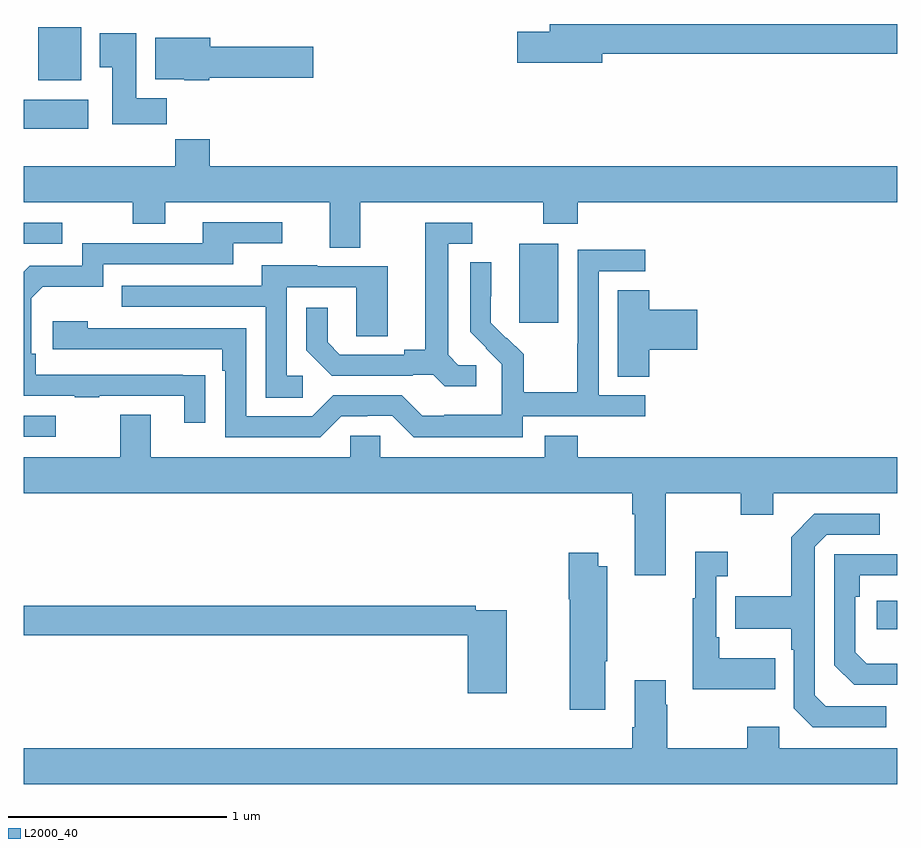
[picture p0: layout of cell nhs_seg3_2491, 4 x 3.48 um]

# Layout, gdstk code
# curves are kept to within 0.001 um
import gdstk
lib = gdstk.Library(unit=1e-6, precision=1e-09)
def R(c, l, rs):  # rectangles x0, y0, x1, y1
    for r in rs: c.add(gdstk.rectangle(r[:2], r[2:], *l))
def P(c, l, *ps):  # polygons
    for p in ps: c.add(gdstk.Polygon(p, *l))
L2000_40 = (2000, 40)

nhs_seg3_2491 = lib.new_cell('nhs_seg3_2491')
R(nhs_seg3_2491, L2000_40, [(242.907,721.604,243,721.734), (239,722.487,239.146,722.583), (241.268,723.009,241.447,723.37), (239,723.369,239.176,723.465), (239,723.896,239.296,724.03), (239.066,724.118,239.263,724.36)])
P(nhs_seg3_2491, L2000_40, [(241.648,724.24),(243,724.24),(243,724.376),(241.409,724.376),(241.409,724.34),(241.26,724.34),(241.26,724.198),(241.648,724.198)],
  [(239.654,724.036),(239.515,724.036),(239.515,724.333),(239.348,724.333),(239.348,724.177),(239.405,724.177),(239.405,723.918),(239.654,723.918)],
  [(239.85,724.129),(240.325,724.129),(240.325,724.271),(239.854,724.271),(239.854,724.312),(239.603,724.312),(239.603,724.124),(239.736,724.124),(239.736,724.118),(239.85,724.118)],
  [(240.541,723.56),(241.378,723.56),(241.378,723.461),(241.538,723.461),(241.538,723.56),(243,723.56),(243,723.724),(239.852,723.724),(239.852,723.848),(239.695,723.848),(239.695,723.724),(239,723.724),(239,723.56),(239.5,723.56),(239.5,723.461),(239.647,723.461),(239.647,723.56),(240.401,723.56),(240.401,723.352),(240.541,723.352)],
  [(239.831,722.768),(239.054,722.769),(239.054,722.866),(239.034,722.866),(239.034,723.12),(239.087,723.173),(239.364,723.173),(239.364,723.276),(239.959,723.276),(239.959,723.372),(240.184,723.372),(240.184,723.468),(239.819,723.468),(239.819,723.372),(239.268,723.372),(239.268,723.27),(239.028,723.27),(239,723.242),(239,722.673),(239.233,722.673),(239.233,722.668),(239.345,722.668),(239.345,722.673),(239.735,722.673),(239.735,722.55),(239.831,722.55)],
  [(241.072,722.814),(240.99,722.814),(240.943,722.861),(240.943,723.369),(241.054,723.369),(241.054,723.465),(240.839,723.465),(240.839,722.885),(240.743,722.885),(240.743,722.862),(240.448,722.862),(240.391,722.919),(240.391,723.076),(240.294,723.076),(240.294,722.882),(240.41,722.766),(240.782,722.766),(240.782,722.769),(240.876,722.769),(240.928,722.717),(241.072,722.717)],
  [(241.284,722.58),(241.846,722.58),(241.846,722.676),(241.632,722.676),(241.632,723.243),(241.846,723.243),(241.846,723.342),(241.536,723.342),(241.536,722.912),(241.534,722.912),(241.534,722.689),(241.289,722.689),(241.289,722.863),(241.212,722.94),(241.209,722.937),(241.139,723.008),(241.14,723.284),(241.044,723.284),(241.044,722.966),(241.19,722.818),(241.19,722.721),(241.188,722.721),(241.188,722.587),(240.925,722.587),(240.925,722.583),(240.825,722.583),(240.732,722.676),(240.417,722.676),(240.321,722.58),(240.018,722.58),(240.018,722.982),(239.294,722.982),(239.294,723.016),(239.133,723.016),(239.133,722.886),(239.909,722.886),(239.909,722.789),(239.922,722.789),(239.922,722.484),(240.357,722.484),(240.453,722.58),(240.572,722.58),(240.572,722.583),(240.687,722.583),(240.787,722.483),(241.284,722.483)],
  [(240.277,722.766),(240.204,722.766),(240.204,723.171),(240.522,723.171),(240.522,722.947),(240.667,722.947),(240.667,723.267),(240.343,723.267),(240.343,723.271),(240.089,723.271),(240.089,723.177),(239.449,723.177),(239.449,723.081),(240.108,723.081),(240.108,722.665),(240.277,722.665)],
  [(241.865,722.885),(242.083,722.885),(242.083,723.068),(241.865,723.068),(241.865,723.158),(241.721,723.158),(241.721,722.761),(241.865,722.761)],
  [(241.939,722.228),(242.284,722.228),(242.284,722.129),(242.431,722.129),(242.431,722.228),(243,722.228),(243,722.392),(241.538,722.392),(241.538,722.491),(241.385,722.491),(241.385,722.392),(240.633,722.392),(240.633,722.49),(240.495,722.49),(240.495,722.392),(239.581,722.392),(239.581,722.587),(239.441,722.587),(239.441,722.392),(239,722.392),(239,722.228),(241.787,722.228),(241.787,722.132),(241.799,722.132),(241.799,721.851),(241.939,721.851)],
  [(242.95,721.251),(242.673,721.251),(242.622,721.302),(242.622,721.983),(242.676,722.037),(242.92,722.037),(242.92,722.133),(242.619,722.133),(242.514,722.027),(242.514,721.755),(242.257,721.755),(242.257,721.607),(242.514,721.607),(242.514,721.511),(242.526,721.511),(242.526,721.242),(242.613,721.155),(242.95,721.155)],
  [(242.441,721.471),(242.185,721.471),(242.185,721.567),(242.172,721.567),(242.172,721.847),(242.224,721.847),(242.224,721.96),(242.075,721.96),(242.075,721.747),(242.064,721.747),(242.064,721.331),(242.441,721.331)],
  [(241.663,721.459),(241.671,721.459),(241.671,721.894),(241.63,721.894),(241.63,721.954),(241.496,721.954),(241.496,721.741),(241.501,721.741),(241.501,721.236),(241.663,721.236)],
  [(243,721.447),(242.861,721.447),(242.808,721.5),(242.808,721.754),(242.828,721.754),(242.828,721.851),(243,721.851),(243,721.947),(242.712,721.947),(242.712,721.44),(242.802,721.35),(243,721.35)],
  [(241.212,721.692),(241.07,721.692),(241.07,721.712),(239,721.712),(239,721.576),(241.034,721.576),(241.034,721.311),(241.212,721.311)],
  [(243,721.06),(242.46,721.06),(242.46,721.159),(242.314,721.159),(242.314,721.06),(241.947,721.06),(241.947,721.259),(241.939,721.259),(241.939,721.372),(241.799,721.372),(241.799,721.156),(241.787,721.156),(241.787,721.06),(239,721.06),(239,720.896),(243,720.896)])

lib.write_gds('nhs_seg3_2491.gds')
